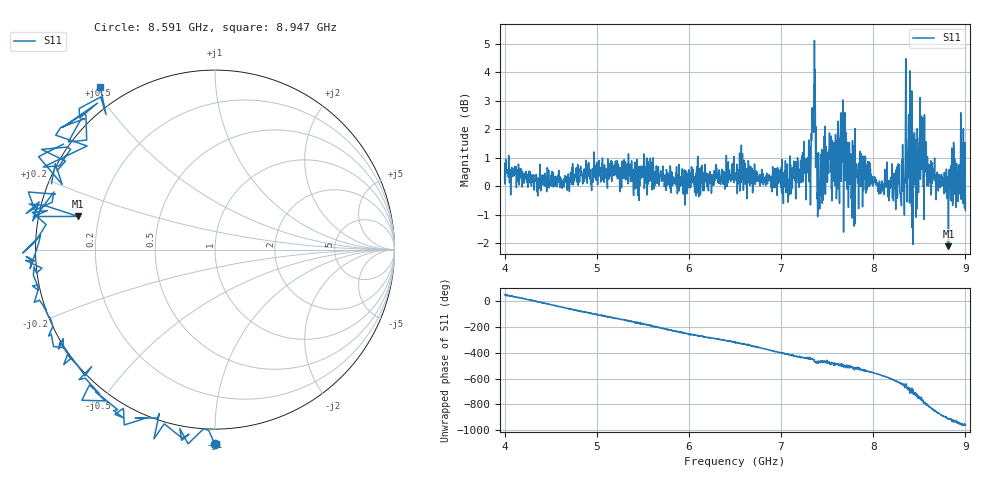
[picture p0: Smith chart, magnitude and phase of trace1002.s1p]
! Created with skrf 1.8.0 (http://scikit-rf.org).
# Hz S RI R 50.0
!freq ReS11 ImS11
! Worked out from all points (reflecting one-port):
!   1601 points, 4 GHz to 9 GHz, reference 50 ohm
!   lowest |S11| = -2.1 dB at 8.816 GHz (marker M1), VSWR 8.27, Z = 6.13 + j5.89 ohm
!   phase of S11 starts at 52 deg and turns -1015 deg over the sweep
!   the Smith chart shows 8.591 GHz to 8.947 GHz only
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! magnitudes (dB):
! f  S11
! 4 GHz  0.2
! 4.625 GHz  -0.1
! 5.25 GHz  -0.2
! 5.875 GHz  -0.3
! 6.5 GHz  0.5
! 7.125 GHz  0.4
! 7.297 GHz  0.5
! 7.353 GHz  1.9
! 7.381 GHz  1.1
! 7.4 GHz  -0.5
! 7.412 GHz  -0.4
! 7.438 GHz  -0.3
! 7.512 GHz  1.0
! 7.609 GHz  1.1
! 7.647 GHz  2.6
! 7.75 GHz  0.5
! 7.775 GHz  1.6
! 7.828 GHz  0.5
! 8.097 GHz  0.2
! 8.312 GHz  0.9
! 8.375 GHz  1.1
! 8.447 GHz  1.9
! 8.522 GHz  2.5
! 8.606 GHz  0.1
! 8.816 GHz  -2.1
! 8.953 GHz  -0.5
! 8.972 GHz  0.8
! 9 GHz  -0.9
